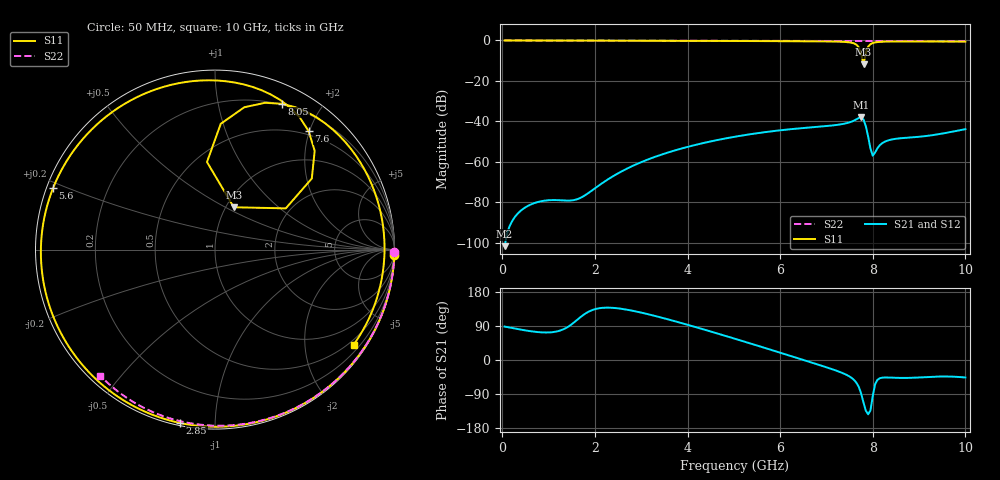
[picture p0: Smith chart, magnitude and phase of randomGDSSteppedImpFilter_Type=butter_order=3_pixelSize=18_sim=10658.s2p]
! freq	dB(S11)	phase(S11)	dB(S12)	phase(S12)
!  dB(S21)	phase(S21)	dB(S22)	phase(S22)
!S-par simulation data
#  GHz  S  DB  R 50
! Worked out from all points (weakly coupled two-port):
!   200 points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, 50 MHz to 10 GHz, reference 50 ohm
!   highest |S21| = -37.98 dB at 7.75 GHz (marker M1); lowest = -101.6 dB at 50 MHz (marker M2)
!   lowest |S11| = -11.8 dB at 7.8 GHz (marker M3), VSWR 1.70, Z = 54.4 + j27.5 ohm
!   |S11| at or under -10 dB: 7.782188 GHz to 7.815841 GHz (33.65 MHz wide, 0.432 % of centre)
!   |S22| runs from -0.4 to 0.0 dB; largest |S21 - S12| = 0
!   S11 on the Smith chart (normalised r, x): 50 MHz: 1, -61; 2.85 GHz: 0.01, -0.82; 5.6 GHz: 0.02, +0.18; 7.6 GHz: 0.44, +1.98; 8.05 GHz: 0.19, +1.54; 10 GHz: 0.37, -3.19
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0.05  -0.00 -1.9  -101.63 88.2  -101.63 88.2  -0.00 -0.8
0.85  -0.04 -31.1  -79.38 72.9  -79.38 72.9  -0.02 -12.9
1.75  -0.08 -63.3  -77.00 118.8  -77.00 118.8  -0.03 -26.4
2.85  -0.13 -101.4  -61.61 129.1  -61.61 129.1  -0.06 -42.4
3.4  -0.15 -120.2  -56.68 113.1  -56.68 113.1  -0.07 -50.2
4.3  -0.21 -151.6  -50.90 82.4  -50.90 82.4  -0.09 -62.6
5.05  -0.26 -179.2  -47.45 55.1  -47.45 55.1  -0.11 -72.6
5.6  -0.31 159.2  -45.52 34.5  -45.52 34.5  -0.13 -79.8
6.7  -0.43 110.0  -42.87 -7.5  -42.87 -7.5  -0.18 -93.6
7.25  -0.59 80.3  -41.65 -29.8  -41.65 -29.8  -0.21 -100.3
7.6  -1.50 51.7  -39.52 -53.2  -39.52 -53.2  -0.23 -104.5
7.7  -3.49 36.3  -38.28 -71.6  -38.28 -71.6  -0.24 -105.7
7.75  -6.81 30.2  -37.98 -88.8  -37.98 -88.8  -0.24 -106.3
7.8  -11.76 66.1  -39.02 -112.3  -39.02 -112.3  -0.25 -106.9
7.85  -6.20 95.2  -42.35 -133.9  -42.35 -133.9  -0.25 -107.5
7.9  -3.08 87.4  -47.45 -143.3  -47.45 -143.3  -0.26 -108.1
8  -1.27 71.2  -56.96 -95.0  -56.96 -95.0  -0.26 -109.2
8.05  -0.98 65.4  -55.36 -64.1  -55.36 -64.1  -0.27 -109.8
8.15  -0.71 56.2  -51.81 -48.3  -51.81 -48.3  -0.27 -111.0
8.35  -0.54 42.4  -49.24 -46.3  -49.24 -46.3  -0.29 -113.3
9.1  -0.49 3.4  -47.34 -45.4  -47.34 -45.4  -0.35 -122.0
10  -0.57 -34.4  -43.82 -46.1  -43.82 -46.1  -0.45 -132.3
